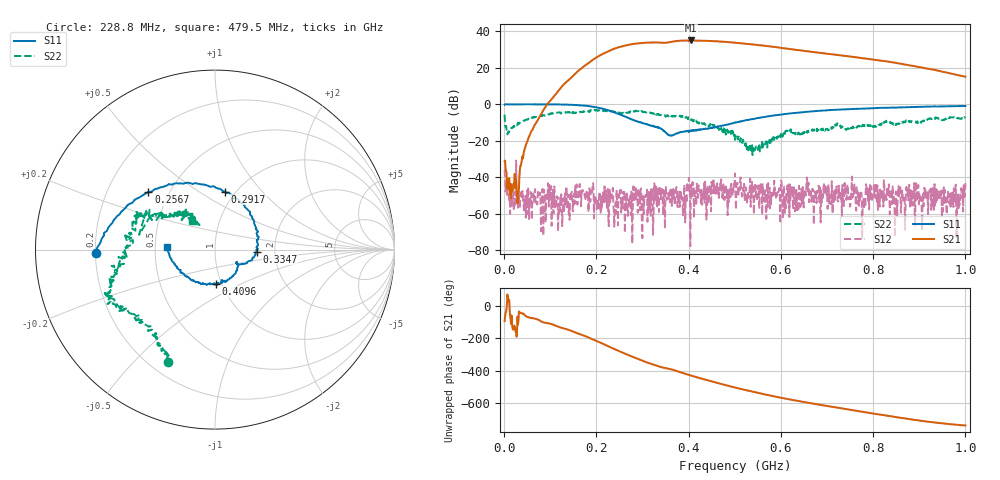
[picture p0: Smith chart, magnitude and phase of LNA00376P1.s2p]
! Created with skrf 1.9.0 (http://scikit-rf.org).
# Hz S RI R 50.0
!freq ReS11 ImS11 ReS21 ImS21 ReS12 ImS12 ReS22 ImS22
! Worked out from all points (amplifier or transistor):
!   1001 points, 1 MHz to 1 GHz, reference 50 ohm
!   highest |S21| = 35.0 dB at 404.6 MHz (marker M1)
!   |S21| within 3 dB of that: 259.6 MHz to 568 MHz (308.5 MHz wide, 74.5 % of centre)
!   unconditionally stable (mu >= 1): 3.602 MHz to 67.5 MHz; 207.3 MHz to 224.7 MHz; 228.9 MHz to end of sweep (the widest 3 of 30)
!   at 166.8 MHz: K = 2.41, MAG = 31.1 dB, |S12| = -55.9 dB
!   at 500.5 MHz: K = 1.00, MAG = 35.4 dB, |S12| = -37.9 dB
!   at 1 GHz: K = 1.73, MAG = 24.2 dB, |S12| = -43.2 dB
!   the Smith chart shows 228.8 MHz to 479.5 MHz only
!   S11 on the Smith chart (normalised r, x): 228.8 MHz: 0.20, -0.02; 256.7 MHz: 0.38, +0.32; 291.7 MHz: 0.90, +0.65; 334.7 MHz: 1.61, -0.04; 409.6 MHz: 0.94, -0.37; 479.5 MHz: 0.57, +0.02
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1000000  0.9732 0.00766  -0.00177 -0.0276  -0.00869 0.0136  0.3905 0.3454
1.07893e8  0.5142 -0.8551  -0.7587 -1.47  0.00202 0.00101  0.4469 -0.3764
1.67833e8  -0.2659 -0.8927  -9.79 -0.5251  0.0043 -0.000843  0.0433 -0.6183
2.03797e8  -0.6656 -0.4549  -15.72 13.24  -0.0021 0.000991  -0.1713 -0.6488
2.28772e8  -0.6637 -0.0216  -8.821 27.9  -0.00049 -0.00493  -0.2602 -0.6277
2.56744e8  -0.3714 0.321  11.73 37.2  -0.000781 0.00116  -0.3679 -0.4297
2.75725e8  -0.1238 0.3653  28.52 33.55  -0.00208 -0.00352  -0.549 -0.3049
2.91709e8  0.0573 0.3226  39.79 24.85  -0.00307 -0.00174  -0.5878 -0.2761
3.13687e8  0.2089 0.1708  48.63 6.828  -0.000905 0.000805  -0.5595 -0.1696
3.34666e8  0.233 -0.0107  48.2 -9.968  -0.00272 0.00314  -0.5153 -0.0499
3.71629e8  0.1276 -0.0885  42.37 -33.15  -0.00172 0.0027  -0.4378 0.1756
4.04596e8  0.0338 -0.1856  20.99 -52  -0.000677 0.00383  -0.3319 0.2005
4.09591e8  0.00373 -0.1916  17.26 -53.17  0.000949 0.00386  -0.2995 0.2
4.41559e8  -0.1572 -0.1505  -7.756 -54.23  0.00413 0.00422  -0.2004 0.1918
4.79521e8  -0.2701 0.0134  -30.78 -41.18  0.000209 0.00468  -0.1259 0.1568
5.005e8  -0.2858 0.142  -38.51 -30.06  0.0127 0.00168  -0.0674 0.0825
5.39461e8  -0.2038 0.3411  -42.62 -8.906  0.00413 -0.00107  -0.0618 0.0194
5.84416e8  -0.00416 0.4922  -36.12 10.24  0.00117 -0.00276  -0.0977 -0.0399
6.67333e8  0.3984 0.5013  -13.64 23.49  0.00131 -0.00247  -0.1885 -0.0311
7.53247e8  0.6839 0.2833  3.598 19.74  -0.0029 -0.00508  -0.2285 -0.0112
8.34166e8  0.8041 0.0105  10.68 10  -0.00188 -0.00612  -0.324 -0.0437
1e9  0.7278 -0.5268  5.502 -1.504  -0.00653 0.00229  -0.3386 0.2463
